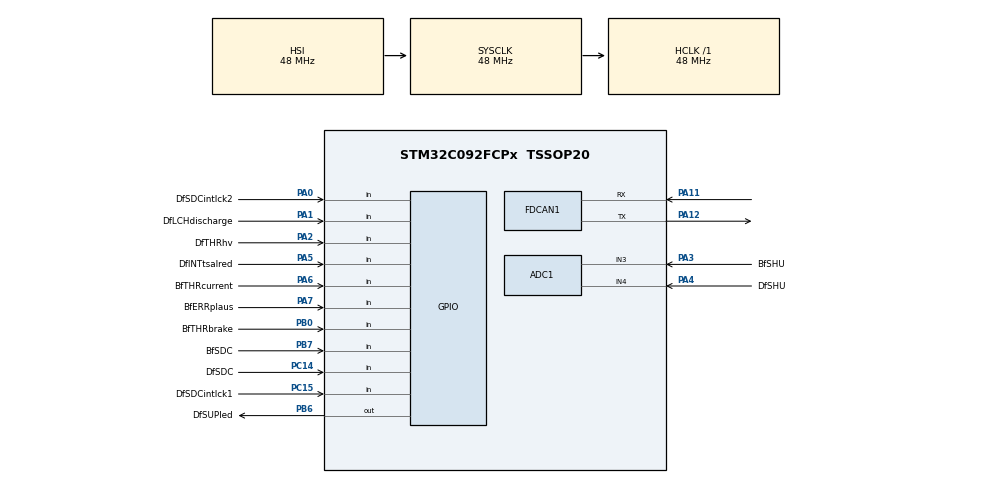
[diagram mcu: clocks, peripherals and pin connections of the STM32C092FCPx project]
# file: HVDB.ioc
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ADC1.DMAContinuousRequests=ENABLE
ADC1.NbrOfChannel_WDG2CONV1=1
ADC1.NbrOfConversionFlag=0
ADC1.SamplingTimeCommon1=ADC_SAMPLETIME_160CYCLES_5
ADC1.SelectedChannel=ADC_CHANNEL_3|ADC_CHANNEL_4
ADC1.TriggerFrequencyMode=ADC_TRIGGER_FREQ_LOW
ADC1.WDGCONV1Channel1=ADC_CHANNEL_3
ADC1.WDGCONV1Channel2=ADC_CHANNEL_4
ADC1.master=1
Dma.ADC1.0.Direction=DMA_PERIPH_TO_MEMORY
Dma.ADC1.0.EventEnable=DISABLE
Dma.ADC1.0.Instance=DMA1_Channel1
Dma.ADC1.0.MemDataAlignment=DMA_MDATAALIGN_HALFWORD
Dma.ADC1.0.MemInc=DMA_MINC_ENABLE
Dma.ADC1.0.Mode=DMA_CIRCULAR
Dma.ADC1.0.PeriphDataAlignment=DMA_PDATAALIGN_HALFWORD
Dma.ADC1.0.PeriphInc=DMA_PINC_DISABLE
Dma.ADC1.0.Polarity=HAL_DMAMUX_REQ_GEN_RISING
Dma.ADC1.0.Priority=DMA_PRIORITY_LOW
Dma.ADC1.0.RequestNumber=1
Dma.ADC1.0.SignalID=NONE
Dma.ADC1.0.SyncEnable=DISABLE
Dma.ADC1.0.SyncPolarity=HAL_DMAMUX_SYNC_NO_EVENT
Dma.ADC1.0.SyncRequestNumber=1
Dma.ADC1.0.SyncSignalID=NONE
Dma.Request0=ADC1
FDCAN1.AutoRetransmission=ENABLE
FDCAN1.CalculateBaudRateNominal=250000
FDCAN1.CalculateTimeBitNominal=4000
FDCAN1.CalculateTimeQuantumNominal=250.0
FDCAN1.NominalPrescaler=12
FDCAN1.NominalTimeSeg1=13
FDCAN1.NominalTimeSeg2=2
Mcu.Family=STM32C0
Mcu.Name=STM32C092FCPx
Mcu.Package=TSSOP20
NVIC.DMA1_Channel1_IRQn=true\:0\:0\:false\:false\:true\:false\:true\:true
PA0.GPIO_Label=DfSDCintlck2
PA0.Signal=GPIO_Input
PA1.GPIO_Label=DfLCHdischarge
PA1.Signal=GPIO_Input
PA11\ [PA9].Mode=FDCAN_Activate
PA11\ [PA9].Signal=FDCAN1_RX
PA12\ [PA10].Mode=FDCAN_Activate
PA12\ [PA10].Signal=FDCAN1_TX
PA13.Mode=Serial_Wire
PA13.Signal=DEBUG_SWDIO
PA14-BOOT0.Mode=Serial_Wire
PA14-BOOT0.Signal=DEBUG_SWCLK
PA14-BOOT0__PA15.StandardMode=true
PA2.GPIO_Label=DfTHRhv
PA2.Signal=GPIO_Input
PA3.GPIO_Label=BfSHU
PA3.Mode=IN3
PA3.Signal=ADC1_IN3
PA4.GPIO_Label=DfSHU
PA4.Mode=IN4
PA4.Signal=ADC1_IN4
PA5.GPIO_Label=DfINTtsalred
PA5.Signal=GPIO_Input
PA6.GPIO_Label=BfTHRcurrent
PA6.Signal=GPIO_Input
PA7.GPIO_Label=BfERRplaus
PA7.Signal=GPIO_Input
PB0.GPIO_Label=BfTHRbrake
PB0.Signal=GPIO_Input
PB0__PB1__PB2__PA8.StandardMode=true
PB3__PB4__PB5__PB6.StandardMode=true
PB6.GPIO_Label=DfSUPled
PB6.Signal=GPIO_Output
PB7.GPIO_Label=BfSDC
PB7.Signal=GPIO_Input
PB7__PB8.StandardMode=true
PC14-OSCX_IN(PC14).GPIO_Label=DfSDC
PC14-OSCX_IN(PC14).Signal=GPIO_Input
PC15-OSCX_OUT(PC15).GPIO_Label=DfSDCintlck1
PC15-OSCX_OUT(PC15).Signal=GPIO_Input
ProjectManager.HeapSize=0x200
ProjectManager.StackSize=0x400
ProjectManager.TargetToolchain=STM32CubeIDE
RCC.ADCCLockSelection=RCC_ADCCLKSOURCE_HSIKER
RCC.ADCFreq_Value=6000000
RCC.AHBFreq_Value=48000000
RCC.CortexFreq_Value=48000000
RCC.EXTERNAL_CLOCK_VALUE=12288000
RCC.HCLKFreq_Value=48000000
RCC.HSE_VALUE=8000000
RCC.HSIKERCLKDivider=RCC_HSIKER_DIV8
RCC.HSISYSCLKDivider=RCC_HSI_DIV1
RCC.HSI_VALUE=48000000
RCC.LSE_VALUE=32768
RCC.SYSCLKFreq_VALUE=48000000
board=custom

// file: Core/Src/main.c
/* USER CODE BEGIN Header */
/**
  ******************************************************************************
  * @file           : main.c
  * @brief          : Main program body
  ******************************************************************************
  * @attention
  *
  * Copyright (c) 2026 STMicroelectronics.
  * All rights reserved.
  *
  * This software is licensed under terms that can be found in the LICENSE file
  * in the root directory of this software component.
  * If no LICENSE file comes with this software, it is provided AS-IS.
  *
  ******************************************************************************
  */
/* USER CODE END Header */
#include "main.h"

/* USER CODE BEGIN Includes */
#include "can.h"
#include "f2p.h"
/* USER CODE END Includes */

ADC_HandleTypeDef hadc1;
DMA_HandleTypeDef hdma_adc1;

FDCAN_HandleTypeDef hfdcan1;

/* USER CODE BEGIN PV */
#define DMA_CH1 2
uint32_t DICCDMA[DMA_CH1];
/* USER CODE END PV */

void SystemClock_Config(void);
void PeriphCommonClock_Config(void);
static void MX_GPIO_Init(void);
static void MX_DMA_Init(void);
static void MX_FDCAN1_Init(void);
static void MX_ADC1_Init(void);

int main(void)
{

  /* MCU Configuration--------------------------------------------------------*/

  /* Reset of all peripherals, Initializes the Flash interface and the Systick. */
  HAL_Init();

  /* Configure the system clock */
  SystemClock_Config();

  /* Configure the peripherals common clocks */
  PeriphCommonClock_Config();

  /* Initialize all configured peripherals */
  MX_GPIO_Init();
  MX_DMA_Init();
  MX_FDCAN1_Init();
  MX_ADC1_Init();
  /* USER CODE BEGIN 2 */
  DICCF_t DICCF = {0};
  DICCP_t DICCP = {0};
  CAN_Init_Custom(&hfdcan1);
  /* USER CODE END 2 */

  /* Infinite loop */
  while (1)
  {

    /* USER CODE BEGIN 3 */
	  HAL_ADC_Start_DMA(&hadc1, (uint32_t*)DICCDMA, DMA_CH1);

	  uint8_t Msg[6] = {0};

	  HAL_GPIO_WritePin(GPIOB, DfSUPled_Pin, GPIO_PIN_SET);

	  DIG2DICCF(&DICCF);

	  DMA2DICCF(&DICCF, DICCDMA);

	  DICCF2DICCP(&DICCF, &DICCP);

	  CAN_Msg_Maker(&DICCP, Msg);

	  CAN_Send(&hfdcan1, 0x400, Msg, 6);

	  HAL_Delay(10);

  }
  /* USER CODE END 3 */
}

void SystemClock_Config(void)
{
  RCC_OscInitTypeDef RCC_OscInitStruct = {0};
  RCC_ClkInitTypeDef RCC_ClkInitStruct = {0};

  __HAL_FLASH_SET_LATENCY(FLASH_LATENCY_1);

  /** Initializes the RCC Oscillators according to the specified parameters
  * in the RCC_OscInitTypeDef structure.
  */
  RCC_OscInitStruct.OscillatorType = RCC_OSCILLATORTYPE_HSI;
  RCC_OscInitStruct.HSIState = RCC_HSI_ON;
  RCC_OscInitStruct.HSIDiv = RCC_HSI_DIV1;
  RCC_OscInitStruct.HSICalibrationValue = RCC_HSICALIBRATION_DEFAULT;
  if (HAL_RCC_OscConfig(&RCC_OscInitStruct) != HAL_OK)
  {
    Error_Handler();
  }

  /** Initializes the CPU, AHB and APB buses clocks
  */
  RCC_ClkInitStruct.ClockType = RCC_CLOCKTYPE_HCLK|RCC_CLOCKTYPE_SYSCLK
                              |RCC_CLOCKTYPE_PCLK1;
  RCC_ClkInitStruct.SYSCLKSource = RCC_SYSCLKSOURCE_HSI;
  RCC_ClkInitStruct.SYSCLKDivider = RCC_SYSCLK_DIV1;
  RCC_ClkInitStruct.AHBCLKDivider = RCC_HCLK_DIV1;
  RCC_ClkInitStruct.APB1CLKDivider = RCC_APB1_DIV1;

  if (HAL_RCC_ClockConfig(&RCC_ClkInitStruct, FLASH_LATENCY_1) != HAL_OK)
  {
    Error_Handler();
  }
}

void PeriphCommonClock_Config(void)
{
  RCC_PeriphCLKInitTypeDef PeriphClkInit = {0};

  /** Initializes the common peripherals clocks
  */
  PeriphClkInit.PeriphClockSelection = RCC_PERIPHCLK_HSIKER;
  PeriphClkInit.HSIKerClockDivider = RCC_HSIKER_DIV8;

  if (HAL_RCCEx_PeriphCLKConfig(&PeriphClkInit) != HAL_OK)
  {
    Error_Handler();
  }
}

static void MX_ADC1_Init(void)
{

  ADC_ChannelConfTypeDef sConfig = {0};

  /** Configure the global features of the ADC (Clock, Resolution, Data Alignment and number of conversion)
  */
  hadc1.Instance = ADC1;
  hadc1.Init.ClockPrescaler = ADC_CLOCK_SYNC_PCLK_DIV2;
  hadc1.Init.Resolution = ADC_RESOLUTION_12B;
  hadc1.Init.DataAlign = ADC_DATAALIGN_RIGHT;
  hadc1.Init.ScanConvMode = ADC_SCAN_SEQ_FIXED;
  hadc1.Init.EOCSelection = ADC_EOC_SINGLE_CONV;
  hadc1.Init.LowPowerAutoWait = DISABLE;
  hadc1.Init.LowPowerAutoPowerOff = DISABLE;
  hadc1.Init.ContinuousConvMode = DISABLE;
  hadc1.Init.NbrOfConversion = 1;
  hadc1.Init.DiscontinuousConvMode = DISABLE;
  hadc1.Init.ExternalTrigConv = ADC_SOFTWARE_START;
  hadc1.Init.ExternalTrigConvEdge = ADC_EXTERNALTRIGCONVEDGE_NONE;
  hadc1.Init.DMAContinuousRequests = ENABLE;
  hadc1.Init.Overrun = ADC_OVR_DATA_PRESERVED;
  hadc1.Init.SamplingTimeCommon1 = ADC_SAMPLETIME_160CYCLES_5;
  hadc1.Init.OversamplingMode = DISABLE;
  hadc1.Init.TriggerFrequencyMode = ADC_TRIGGER_FREQ_LOW;
  if (HAL_ADC_Init(&hadc1) != HAL_OK)
  {
    Error_Handler();
  }

  /** Configure Regular Channel
  */
  sConfig.Channel = ADC_CHANNEL_3;
  sConfig.Rank = ADC_RANK_CHANNEL_NUMBER;
  if (HAL_ADC_ConfigChannel(&hadc1, &sConfig) != HAL_OK)
  {
    Error_Handler();
  }

  /** Configure Regular Channel
  */
  sConfig.Channel = ADC_CHANNEL_4;
  if (HAL_ADC_ConfigChannel(&hadc1, &sConfig) != HAL_OK)
  {
    Error_Handler();
  }

}

static void MX_FDCAN1_Init(void)
{

  hfdcan1.Instance = FDCAN1;
  hfdcan1.Init.ClockDivider = FDCAN_CLOCK_DIV1;
  hfdcan1.Init.FrameFormat = FDCAN_FRAME_CLASSIC;
  hfdcan1.Init.Mode = FDCAN_MODE_NORMAL;
  hfdcan1.Init.AutoRetransmission = ENABLE;
  hfdcan1.Init.TransmitPause = DISABLE;
  hfdcan1.Init.ProtocolException = DISABLE;
  hfdcan1.Init.NominalPrescaler = 12;
  hfdcan1.Init.NominalSyncJumpWidth = 1;
  hfdcan1.Init.NominalTimeSeg1 = 13;
  hfdcan1.Init.NominalTimeSeg2 = 2;
  hfdcan1.Init.DataPrescaler = 1;
  hfdcan1.Init.DataSyncJumpWidth = 1;
  hfdcan1.Init.DataTimeSeg1 = 1;
  hfdcan1.Init.DataTimeSeg2 = 1;
  hfdcan1.Init.StdFiltersNbr = 0;
  hfdcan1.Init.ExtFiltersNbr = 0;
  hfdcan1.Init.TxFifoQueueMode = FDCAN_TX_FIFO_OPERATION;
  if (HAL_FDCAN_Init(&hfdcan1) != HAL_OK)
  {
    Error_Handler();
  }

}

static void MX_DMA_Init(void)
{

  /* DMA controller clock enable */
  __HAL_RCC_DMA1_CLK_ENABLE();

  /* DMA interrupt init */
  /* DMA1_Channel1_IRQn interrupt configuration */
  HAL_NVIC_SetPriority(DMA1_Channel1_IRQn, 0, 0);
  HAL_NVIC_EnableIRQ(DMA1_Channel1_IRQn);

}

static void MX_GPIO_Init(void)
{
  GPIO_InitTypeDef GPIO_InitStruct = {0};

  /* GPIO Ports Clock Enable */
  __HAL_RCC_GPIOB_CLK_ENABLE();
  __HAL_RCC_GPIOC_CLK_ENABLE();
  __HAL_RCC_GPIOA_CLK_ENABLE();

  /*Configure GPIO pin Output Level */
  HAL_GPIO_WritePin(DfSUPled_GPIO_Port, DfSUPled_Pin, GPIO_PIN_RESET);

  /*Configure GPIO pins : BfSDC_Pin BfTHRbrake_Pin */
  GPIO_InitStruct.Pin = BfSDC_Pin|BfTHRbrake_Pin;
  GPIO_InitStruct.Mode = GPIO_MODE_INPUT;
  GPIO_InitStruct.Pull = GPIO_NOPULL;
  HAL_GPIO_Init(GPIOB, &GPIO_InitStruct);

  /*Configure GPIO pins : DfSDC_Pin DfSDCintlck1_Pin */
  GPIO_InitStruct.Pin = DfSDC_Pin|DfSDCintlck1_Pin;
  GPIO_InitStruct.Mode = GPIO_MODE_INPUT;
  GPIO_InitStruct.Pull = GPIO_NOPULL;
  HAL_GPIO_Init(GPIOC, &GPIO_InitStruct);

  /*Configure GPIO pins : DfSDCintlck2_Pin DfLCHdischarge_Pin DfTHRhv_Pin DfINTtsalred_Pin
                           BfTHRcurrent_Pin BfERRplaus_Pin */
  GPIO_InitStruct.Pin = DfSDCintlck2_Pin|DfLCHdischarge_Pin|DfTHRhv_Pin|DfINTtsalred_Pin
                          |BfTHRcurrent_Pin|BfERRplaus_Pin;
  GPIO_InitStruct.Mode = GPIO_MODE_INPUT;
  GPIO_InitStruct.Pull = GPIO_NOPULL;
  HAL_GPIO_Init(GPIOA, &GPIO_InitStruct);

  /*Configure GPIO pin : DfSUPled_Pin */
  GPIO_InitStruct.Pin = DfSUPled_Pin;
  GPIO_InitStruct.Mode = GPIO_MODE_OUTPUT_PP;
  GPIO_InitStruct.Pull = GPIO_NOPULL;
  GPIO_InitStruct.Speed = GPIO_SPEED_FREQ_LOW;
  HAL_GPIO_Init(DfSUPled_GPIO_Port, &GPIO_InitStruct);

}

void Error_Handler(void)
{
  __disable_irq();
  while (1)
  {
  }
}
